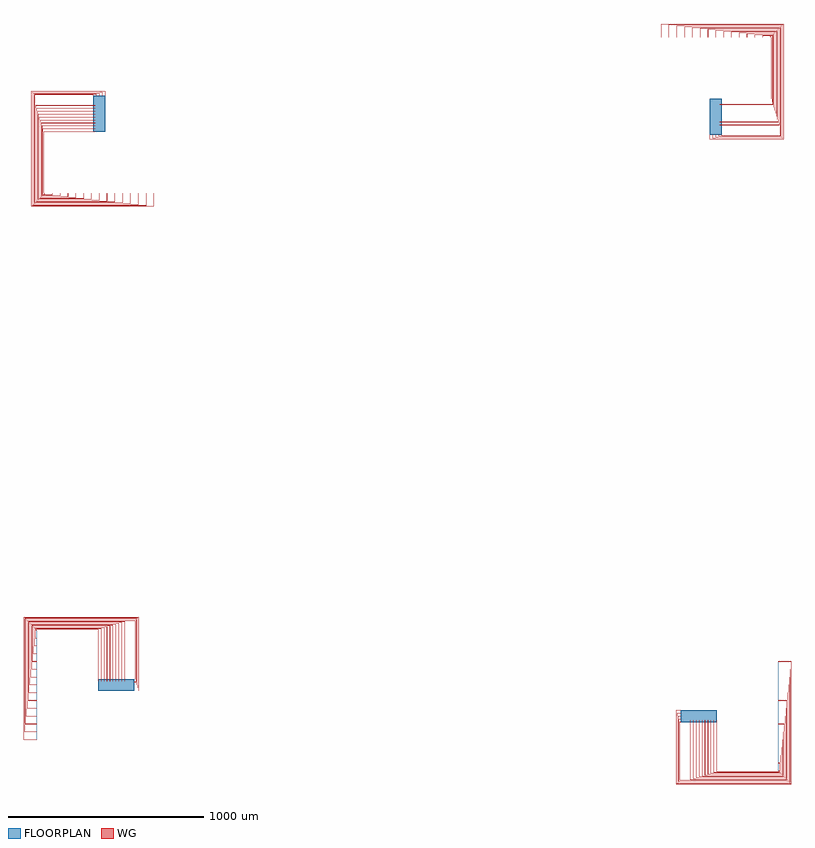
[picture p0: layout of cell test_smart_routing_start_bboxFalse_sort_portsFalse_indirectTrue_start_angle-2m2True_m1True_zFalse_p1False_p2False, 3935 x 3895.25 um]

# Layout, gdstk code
import gdstk
lib = gdstk.Library(unit=1e-6, precision=1e-09)
def R(c, l, rs):  # rectangles x0, y0, x1, y1
    for r in rs: c.add(gdstk.rectangle(r[:2], r[2:], *l))
def P(c, l, *ps):  # polygons
    for p in ps: c.add(gdstk.Polygon(p, *l))
WG = (1, 0)
FLOORPLAN = (10, 0)

test_smart_routing_start = lib.new_cell('test_smart_routing_start_bboxFalse_sort_portsFalse_indirectTrue_start_angle-2m2True_m1True_zFalse_p1False_p2False')
P(test_smart_routing_start, WG, [(-467.5,-200.25),(-467.5,427.75),(122.5,427.75),(122.5,49.75),(100,49.75),(100,50.25),(122,50.25),(122,427.25),(-467,427.25),(-467,-199.75),(-400,-199.75),(-400,-200.25)],
  [(-463,-160.25),(-463,423.25),(118,423.25),(118,64.75),(100,64.75),(100,65.25),(117.5,65.25),(117.5,422.75),(-462.5,422.75),(-462.5,-159.75),(-400,-159.75),(-400,-160.25)],
  [(-458.5,-120.25),(-458.5,418.75),(113.5,418.75),(113.5,79.75),(100,79.75),(100,80.25),(113,80.25),(113,418.25),(-458,418.25),(-458,-119.75),(-400,-119.75),(-400,-120.25)],
  [(-454,-80.25),(-454,414.25),(109,414.25),(109,94.75),(100,94.75),(100,95.25),(108.5,95.25),(108.5,413.75),(-453.5,413.75),(-453.5,-79.75),(-400,-79.75),(-400,-80.25)],
  [(-449.5,-40.25),(-449.5,409.75),(104.5,409.75),(104.5,109.75),(100,109.75),(100,110.25),(104,110.25),(104,409.25),(-449,409.25),(-449,-39.75),(-400,-39.75),(-400,-40.25)],
  [(-445,-0.25),(-445,405.25),(50.25,405.25),(50.25,100),(49.75,100),(49.75,404.75),(-444.5,404.75),(-444.5,0.25),(-400,0.25),(-400,-0.25)],
  [(-440.5,39.75),(-440.5,400.75),(35.25,400.75),(35.25,100),(34.75,100),(34.75,400.25),(-440,400.25),(-440,40.25),(-400,40.25),(-400,39.75)],
  [(-436,79.75),(-436,396.25),(20.25,396.25),(20.25,100),(19.75,100),(19.75,395.75),(-435.5,395.75),(-435.5,80.25),(-400,80.25),(-400,79.75)],
  [(4.75,100),(4.75,391.25),(-431,391.25),(-431,120.25),(-400,120.25),(-400,119.75),(-431.5,119.75),(-431.5,391.75),(5.25,391.75),(5.25,100)],
  [(-10.25,100),(-10.25,386.75),(-426.5,386.75),(-426.5,160.25),(-400,160.25),(-400,159.75),(-427,159.75),(-427,387.25),(-9.75,387.25),(-9.75,100)],
  [(-25.25,100),(-25.25,382.25),(-422,382.25),(-422,200.25),(-400,200.25),(-400,199.75),(-422.5,199.75),(-422.5,382.75),(-24.75,382.75),(-24.75,100)],
  [(-40.25,100),(-40.25,377.75),(-417.5,377.75),(-417.5,240.25),(-400,240.25),(-400,239.75),(-418,239.75),(-418,378.25),(-39.75,378.25),(-39.75,100)],
  [(-55.25,100),(-55.25,373.25),(-413,373.25),(-413,280.25),(-400,280.25),(-400,279.75),(-413.5,279.75),(-413.5,373.75),(-54.75,373.75),(-54.75,100)],
  [(-70.25,100),(-70.25,368.75),(-408.5,368.75),(-408.5,320.25),(-400,320.25),(-400,319.75),(-409,319.75),(-409,369.25),(-69.75,369.25),(-69.75,100)],
  [(-85.25,100),(-85.25,364.25),(-404,364.25),(-404,360.25),(-400,360.25),(-400,359.75),(-404.5,359.75),(-404.5,364.75),(-84.75,364.75),(-84.75,100)],
  [(-427.75,2532.5),(-427.75,3122.5),(-49.75,3122.5),(-49.75,3100),(-50.25,3100),(-50.25,3122),(-427.25,3122),(-427.25,2533),(199.75,2533),(199.75,2600),(200.25,2600),(200.25,2532.5)],
  [(-423.25,2537),(-423.25,3118),(-64.75,3118),(-64.75,3100),(-65.25,3100),(-65.25,3117.5),(-422.75,3117.5),(-422.75,2537.5),(159.75,2537.5),(159.75,2600),(160.25,2600),(160.25,2537)],
  [(-418.75,2541.5),(-418.75,3113.5),(-79.75,3113.5),(-79.75,3100),(-80.25,3100),(-80.25,3113),(-418.25,3113),(-418.25,2542),(119.75,2542),(119.75,2600),(120.25,2600),(120.25,2541.5)],
  [(-414.25,2546),(-414.25,3109),(-94.75,3109),(-94.75,3100),(-95.25,3100),(-95.25,3108.5),(-413.75,3108.5),(-413.75,2546.5),(79.75,2546.5),(79.75,2600),(80.25,2600),(80.25,2546)],
  [(-409.75,2550.5),(-409.75,3104.5),(-109.75,3104.5),(-109.75,3100),(-110.25,3100),(-110.25,3104),(-409.25,3104),(-409.25,2551),(39.75,2551),(39.75,2600),(40.25,2600),(40.25,2550.5)],
  [(-405.25,2555),(-405.25,3050.25),(-100,3050.25),(-100,3049.75),(-404.75,3049.75),(-404.75,2555.5),(-0.25,2555.5),(-0.25,2600),(0.25,2600),(0.25,2555)],
  [(-400.75,2559.5),(-400.75,3035.25),(-100,3035.25),(-100,3034.75),(-400.25,3034.75),(-400.25,2560),(-40.25,2560),(-40.25,2600),(-39.75,2600),(-39.75,2559.5)],
  [(-396.25,2564),(-396.25,3020.25),(-100,3020.25),(-100,3019.75),(-395.75,3019.75),(-395.75,2564.5),(-80.25,2564.5),(-80.25,2600),(-79.75,2600),(-79.75,2564)],
  [(-391.75,2568.5),(-391.75,3005.25),(-100,3005.25),(-100,3004.75),(-391.25,3004.75),(-391.25,2569),(-120.25,2569),(-120.25,2600),(-119.75,2600),(-119.75,2568.5)],
  [(-387.25,2573),(-387.25,2990.25),(-100,2990.25),(-100,2989.75),(-386.75,2989.75),(-386.75,2573.5),(-160.25,2573.5),(-160.25,2600),(-159.75,2600),(-159.75,2573)],
  [(-382.75,2577.5),(-382.75,2975.25),(-100,2975.25),(-100,2974.75),(-382.25,2974.75),(-382.25,2578),(-200.25,2578),(-200.25,2600),(-199.75,2600),(-199.75,2577.5)],
  [(-378.25,2582),(-378.25,2960.25),(-100,2960.25),(-100,2959.75),(-377.75,2959.75),(-377.75,2582.5),(-240.25,2582.5),(-240.25,2600),(-239.75,2600),(-239.75,2582)],
  [(-373.75,2586.5),(-373.75,2945.25),(-100,2945.25),(-100,2944.75),(-373.25,2944.75),(-373.25,2587),(-280.25,2587),(-280.25,2600),(-279.75,2600),(-279.75,2586.5)],
  [(-369.25,2591),(-369.25,2930.25),(-100,2930.25),(-100,2929.75),(-368.75,2929.75),(-368.75,2591.5),(-320.25,2591.5),(-320.25,2600),(-319.75,2600),(-319.75,2591)],
  [(-364.75,2595.5),(-364.75,2915.25),(-100,2915.25),(-100,2914.75),(-364.25,2914.75),(-364.25,2596),(-360.25,2596),(-360.25,2600),(-359.75,2600),(-359.75,2595.5)],
  [(2877.5,-427.75),(2877.5,-49.75),(2900,-49.75),(2900,-50.25),(2878,-50.25),(2878,-427.25),(3467,-427.25),(3467,199.75),(3400,199.75),(3400,200.25),(3467.5,200.25),(3467.5,-427.75)],
  [(2882,-423.25),(2882,-64.75),(2900,-64.75),(2900,-65.25),(2882.5,-65.25),(2882.5,-422.75),(3462.5,-422.75),(3462.5,159.75),(3400,159.75),(3400,160.25),(3463,160.25),(3463,-423.25)],
  [(2886.5,-418.75),(2886.5,-79.75),(2900,-79.75),(2900,-80.25),(2887,-80.25),(2887,-418.25),(3458,-418.25),(3458,119.75),(3400,119.75),(3400,120.25),(3458.5,120.25),(3458.5,-418.75)],
  [(2891,-414.25),(2891,-94.75),(2900,-94.75),(2900,-95.25),(2891.5,-95.25),(2891.5,-413.75),(3453.5,-413.75),(3453.5,79.75),(3400,79.75),(3400,80.25),(3454,80.25),(3454,-414.25)],
  [(2895.5,-409.75),(2895.5,-109.75),(2900,-109.75),(2900,-110.25),(2896,-110.25),(2896,-409.25),(3449,-409.25),(3449,39.75),(3400,39.75),(3400,40.25),(3449.5,40.25),(3449.5,-409.75)],
  [(2949.75,-405.25),(2949.75,-100),(2950.25,-100),(2950.25,-404.75),(3444.5,-404.75),(3444.5,-0.25),(3400,-0.25),(3400,0.25),(3445,0.25),(3445,-405.25)],
  [(2964.75,-400.75),(2964.75,-100),(2965.25,-100),(2965.25,-400.25),(3440,-400.25),(3440,-40.25),(3400,-40.25),(3400,-39.75),(3440.5,-39.75),(3440.5,-400.75)],
  [(2979.75,-396.25),(2979.75,-100),(2980.25,-100),(2980.25,-395.75),(3435.5,-395.75),(3435.5,-80.25),(3400,-80.25),(3400,-79.75),(3436,-79.75),(3436,-396.25)],
  [(2994.75,-391.75),(2994.75,-100),(2995.25,-100),(2995.25,-391.25),(3431,-391.25),(3431,-120.25),(3400,-120.25),(3400,-119.75),(3431.5,-119.75),(3431.5,-391.75)],
  [(3009.75,-387.25),(3009.75,-100),(3010.25,-100),(3010.25,-386.75),(3426.5,-386.75),(3426.5,-160.25),(3400,-160.25),(3400,-159.75),(3427,-159.75),(3427,-387.25)],
  [(3024.75,-382.75),(3024.75,-100),(3025.25,-100),(3025.25,-382.25),(3422,-382.25),(3422,-200.25),(3400,-200.25),(3400,-199.75),(3422.5,-199.75),(3422.5,-382.75)],
  [(3039.75,-378.25),(3039.75,-100),(3040.25,-100),(3040.25,-377.75),(3417.5,-377.75),(3417.5,-240.25),(3400,-240.25),(3400,-239.75),(3418,-239.75),(3418,-378.25)],
  [(3054.75,-373.75),(3054.75,-100),(3055.25,-100),(3055.25,-373.25),(3413,-373.25),(3413,-280.25),(3400,-280.25),(3400,-279.75),(3413.5,-279.75),(3413.5,-373.75)],
  [(3069.75,-369.25),(3069.75,-100),(3070.25,-100),(3070.25,-368.75),(3408.5,-368.75),(3408.5,-320.25),(3400,-320.25),(3400,-319.75),(3409,-319.75),(3409,-369.25)],
  [(3084.75,-364.75),(3084.75,-100),(3085.25,-100),(3085.25,-364.25),(3404,-364.25),(3404,-360.25),(3400,-360.25),(3400,-359.75),(3404.5,-359.75),(3404.5,-364.75)],
  [(3049.75,2877.5),(3049.75,2900),(3050.25,2900),(3050.25,2878),(3427.25,2878),(3427.25,3467),(2800.25,3467),(2800.25,3400),(2799.75,3400),(2799.75,3467.5),(3427.75,3467.5),(3427.75,2877.5)],
  [(3064.75,2882),(3064.75,2900),(3065.25,2900),(3065.25,2882.5),(3422.75,2882.5),(3422.75,3462.5),(2840.25,3462.5),(2840.25,3400),(2839.75,3400),(2839.75,3463),(3423.25,3463),(3423.25,2882)],
  [(3079.75,2886.5),(3079.75,2900),(3080.25,2900),(3080.25,2887),(3418.25,2887),(3418.25,3458),(2880.25,3458),(2880.25,3400),(2879.75,3400),(2879.75,3458.5),(3418.75,3458.5),(3418.75,2886.5)],
  [(3094.75,2891),(3094.75,2900),(3095.25,2900),(3095.25,2891.5),(3413.75,2891.5),(3413.75,3453.5),(2920.25,3453.5),(2920.25,3400),(2919.75,3400),(2919.75,3454),(3414.25,3454),(3414.25,2891)],
  [(3109.75,2895.5),(3109.75,2900),(3110.25,2900),(3110.25,2896),(3409.25,2896),(3409.25,3449),(2960.25,3449),(2960.25,3400),(2959.75,3400),(2959.75,3449.5),(3409.75,3449.5),(3409.75,2895.5)],
  [(3100,2949.75),(3100,2950.25),(3404.75,2950.25),(3404.75,3444.5),(3000.25,3444.5),(3000.25,3400),(2999.75,3400),(2999.75,3445),(3405.25,3445),(3405.25,2949.75)],
  [(3100,2964.75),(3100,2965.25),(3400.25,2965.25),(3400.25,3440),(3040.25,3440),(3040.25,3400),(3039.75,3400),(3039.75,3440.5),(3400.75,3440.5),(3400.75,2964.75)],
  [(3100,2979.75),(3100,2980.25),(3395.75,2980.25),(3395.75,3435.5),(3080.25,3435.5),(3080.25,3400),(3079.75,3400),(3079.75,3436),(3396.25,3436),(3396.25,2979.75)],
  [(3100,2994.75),(3100,2995.25),(3391.25,2995.25),(3391.25,3431),(3120.25,3431),(3120.25,3400),(3119.75,3400),(3119.75,3431.5),(3391.75,3431.5),(3391.75,2994.75)],
  [(3100,3009.75),(3100,3010.25),(3386.75,3010.25),(3386.75,3426.5),(3160.25,3426.5),(3160.25,3400),(3159.75,3400),(3159.75,3427),(3387.25,3427),(3387.25,3009.75)],
  [(3100,3024.75),(3100,3025.25),(3382.25,3025.25),(3382.25,3422),(3200.25,3422),(3200.25,3400),(3199.75,3400),(3199.75,3422.5),(3382.75,3422.5),(3382.75,3024.75)],
  [(3100,3039.75),(3100,3040.25),(3377.75,3040.25),(3377.75,3417.5),(3240.25,3417.5),(3240.25,3400),(3239.75,3400),(3239.75,3418),(3378.25,3418),(3378.25,3039.75)],
  [(3100,3054.75),(3100,3055.25),(3373.25,3055.25),(3373.25,3413),(3280.25,3413),(3280.25,3400),(3279.75,3400),(3279.75,3413.5),(3373.75,3413.5),(3373.75,3054.75)],
  [(3100,3069.75),(3100,3070.25),(3368.75,3070.25),(3368.75,3408.5),(3320.25,3408.5),(3320.25,3400),(3319.75,3400),(3319.75,3409),(3369.25,3409),(3369.25,3069.75)],
  [(3100,3084.75),(3100,3085.25),(3364.25,3085.25),(3364.25,3404),(3360.25,3404),(3360.25,3400),(3359.75,3400),(3359.75,3404.5),(3364.75,3404.5),(3364.75,3084.75)])
R(test_smart_routing_start, FLOORPLAN, [(2900,-110,3085,-50), (-85,50,100,110), (3050,2900,3110,3085), (-110,2915,-50,3100)])
P(test_smart_routing_start, FLOORPLAN, [(-400,-200),(-400,360),(-400,360),(-400,-200)],
  [(-360,2600),(-360,2600),(200,2600),(200,2600)],
  [(3400,-360),(3400,200),(3400,200),(3400,-360)],
  [(2800,3400),(2800,3400),(3360,3400),(3360,3400)])

lib.write_gds('test_smart_routing_start_bboxFalse_sort_portsFalse_indirectTrue_start_angle-2m2True_m1True_zFalse_p1False_p2False.gds')
